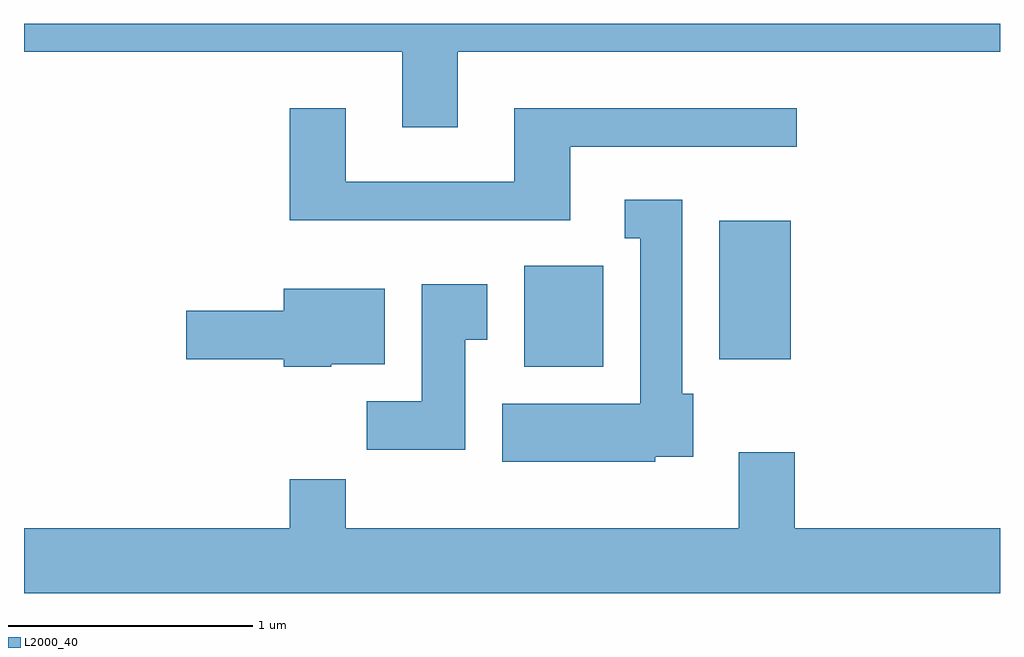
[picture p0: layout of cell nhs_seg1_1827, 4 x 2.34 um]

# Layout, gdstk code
import gdstk
lib = gdstk.Library(unit=1e-6, precision=1e-09)
def R(c, l, rs):  # rectangles x0, y0, x1, y1
    for r in rs: c.add(gdstk.rectangle(r[:2], r[2:], *l))
def P(c, l, *ps):  # polygons
    for p in ps: c.add(gdstk.Polygon(p, *l))
L2000_40 = (2000, 40)

nhs_seg1_1827 = lib.new_cell('nhs_seg1_1827')
R(nhs_seg1_1827, L2000_40, [(243.661,878.306,243.984,878.719), (244.461,878.336,244.754,878.904)])
P(nhs_seg1_1827, L2000_40, [(243.389,879.596),(245.611,879.596),(245.611,879.712),(241.611,879.712),(241.611,879.596),(243.161,879.596),(243.161,879.286),(243.389,879.286)],
  [(243.849,879.206),(244.778,879.206),(244.778,879.364),(243.621,879.364),(243.621,879.064),(242.929,879.064),(242.929,879.364),(242.701,879.364),(242.701,878.906),(243.849,878.906)],
  [(244.199,877.936),(244.354,877.936),(244.354,878.194),(244.309,878.194),(244.309,878.989),(244.073,878.989),(244.073,878.831),(244.136,878.831),(244.136,878.154),(243.571,878.154),(243.571,877.916),(244.199,877.916)],
  [(243.419,878.416),(243.509,878.416),(243.509,878.644),(243.241,878.644),(243.241,878.164),(243.016,878.164),(243.016,877.966),(243.419,877.966)],
  [(242.87,878.316),(243.089,878.316),(243.089,878.624),(242.676,878.624),(242.676,878.534),(242.276,878.534),(242.276,878.336),(242.676,878.336),(242.676,878.306),(242.87,878.306)],
  [(245.611,877.644),(244.769,877.644),(244.769,877.954),(244.541,877.954),(244.541,877.644),(242.929,877.644),(242.929,877.844),(242.701,877.844),(242.701,877.644),(241.611,877.644),(241.611,877.376),(245.611,877.376)])

lib.write_gds('nhs_seg1_1827.gds')
